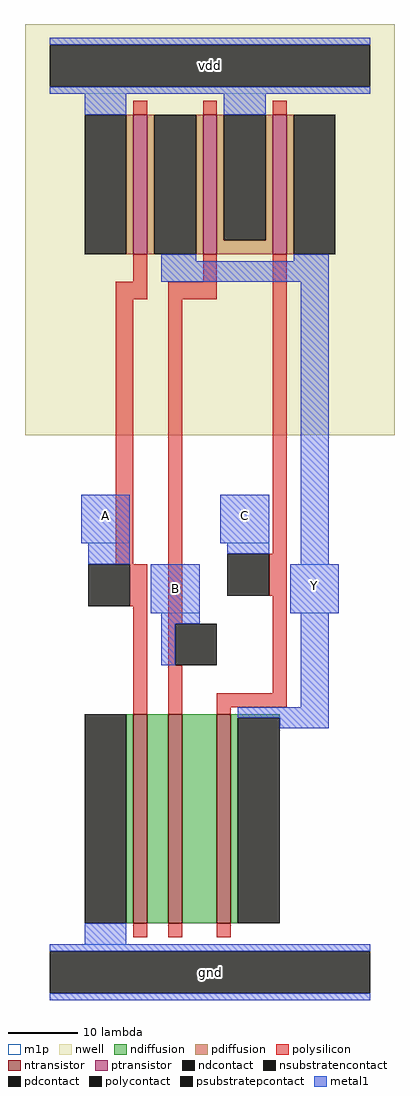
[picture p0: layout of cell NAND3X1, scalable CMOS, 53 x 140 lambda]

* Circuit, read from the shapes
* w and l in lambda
.subckt NAND3X1 A B C Y vdd gnd
M1 n1 A gnd gnd nfet w=30 l=2
M2 n2 B n1 gnd nfet w=30 l=2
M3 Y C n2 gnd nfet w=30 l=2
M4 Y A vdd vdd pfet w=20 l=2
M5 vdd B Y vdd pfet w=20 l=2
M6 Y C vdd vdd pfet w=20 l=2
.ends

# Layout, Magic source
magic
tech scmos
magscale 1 2
<< nwell >>
rect -13 154 93 272
<< ntransistor >>
rect 18 14 22 74
rect 28 14 32 74
rect 42 14 46 74
<< ptransistor >>
rect 18 206 22 246
rect 38 206 42 246
rect 58 206 62 246
<< ndiffusion >>
rect 16 14 18 74
rect 22 14 28 74
rect 32 14 42 74
rect 46 73 60 74
rect 46 14 48 73
<< pdiffusion >>
rect 16 206 18 246
rect 22 206 24 246
rect 36 206 38 246
rect 42 210 44 246
rect 56 210 58 246
rect 42 206 58 210
rect 62 206 64 246
<< ndcontact >>
rect 4 14 16 74
rect 48 14 60 73
<< pdcontact >>
rect 4 206 16 246
rect 24 206 36 246
rect 44 210 56 246
rect 64 206 76 246
<< psubstratepcontact >>
rect -6 -6 86 6
<< nsubstratencontact >>
rect -6 254 86 266
<< polysilicon >>
rect 18 246 22 250
rect 38 246 42 250
rect 58 246 62 250
rect 18 198 22 206
rect 38 198 42 206
rect 13 193 22 198
rect 28 193 42 198
rect 13 117 18 193
rect 17 105 22 117
rect 18 74 22 105
rect 28 100 32 193
rect 58 120 62 206
rect 57 108 62 120
rect 28 88 30 100
rect 28 74 32 88
rect 58 80 62 108
rect 42 76 62 80
rect 42 74 46 76
rect 18 10 22 14
rect 28 10 32 14
rect 42 10 46 14
<< polycontact >>
rect 5 105 17 117
rect 45 108 57 120
rect 30 88 42 100
<< metal1 >>
rect -6 266 86 268
rect -6 252 86 254
rect 4 246 16 252
rect 44 246 56 252
rect 26 204 36 206
rect 64 204 74 206
rect 26 198 74 204
rect 3 123 17 137
rect 43 123 57 137
rect 5 117 17 123
rect 45 120 57 123
rect 23 103 37 117
rect 66 117 74 198
rect 63 103 77 117
rect 26 100 37 103
rect 26 88 30 100
rect 66 76 74 103
rect 48 73 74 76
rect 60 70 74 73
rect 4 8 16 14
rect -6 6 86 8
rect -6 -8 86 -6
<< m1p >>
rect -6 252 86 268
rect 3 123 17 137
rect 43 123 57 137
rect 23 103 37 117
rect 63 103 77 117
rect -6 -8 86 8
<< labels >>
rlabel nsubstratencontact 40 260 40 260 0 vdd
port 5 nsew power bidirectional abutment
rlabel psubstratepcontact 40 0 40 0 0 gnd
port 6 nsew ground bidirectional abutment
rlabel metal1 10 131 10 131 0 A
port 1 nsew signal input
rlabel metal1 30 110 30 110 0 B
port 2 nsew signal input
rlabel metal1 50 131 50 131 0 C
port 3 nsew signal input
rlabel metal1 70 111 70 111 0 Y
port 4 nsew signal output
<< properties >>
string FIXED_BBOX 0 0 80 260
string LEFclass CORE
string LEFsite core
string LEFsymmetry X Y
<< end >>
